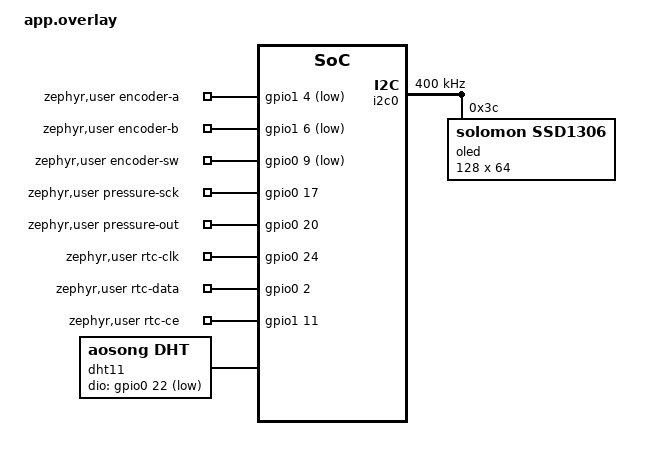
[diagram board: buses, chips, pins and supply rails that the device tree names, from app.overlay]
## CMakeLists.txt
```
cmake_minimum_required(VERSION 3.20.0)

find_package(Zephyr REQUIRED HINTS $ENV{ZEPHYR_BASE})

project(OLED_Merhaba)

target_sources(app PRIVATE
    src/main.c
    src/display_ui.c
    src/input_encoder.c
    src/max30102.c
    src/heart_rate.c
    src/profile_store.c
    src/pressure_sensor.c
    src/mep_test.c
    src/ble_health.c
    src/environment_sensor.c
    src/rtc_clock.c
    src/measurement_log.c
    src/storage_reset.c
)
```

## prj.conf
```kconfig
# Rotary encoder, buton ve HX711 basinc modulu
CONFIG_GPIO=y

# DHT11 ortam sicakligi ve bagil nem sensoru
CONFIG_SENSOR=y
CONFIG_DHT=y
CONFIG_DHT_LOCK_IRQS=y

# OLED ve MAX30102 ortak I2C hatti
CONFIG_I2C=y

# SSD1306 OLED ekran
CONFIG_DISPLAY=y
CONFIG_SSD1306=y
CONFIG_CHARACTER_FRAMEBUFFER=y

# Profil ve basinc kalibrasyonunu kalici bellekte saklama
CONFIG_FLASH=y
CONFIG_FLASH_MAP=y
CONFIG_NVS=y
CONFIG_SETTINGS=y
CONFIG_SETTINGS_NVS=y

# Bellek ayarlari
CONFIG_HEAP_MEM_POOL_SIZE=4096
CONFIG_MAIN_STACK_SIZE=4096
CONFIG_SYSTEM_WORKQUEUE_STACK_SIZE=2048

# Simdilik loglari kapat
CONFIG_LOG=n

# Bluetooth Low Energy ve Nordic UART Service
CONFIG_BT=y
CONFIG_BT_PERIPHERAL=y
CONFIG_BT_DEVICE_NAME="nRF52840_fy"
CONFIG_BT_MAX_CONN=1
CONFIG_BT_MAX_PAIRED=1
CONFIG_BT_NUS=y
```

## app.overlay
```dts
#include <zephyr/dt-bindings/i2c/i2c.h>
#include <zephyr/dt-bindings/gpio/gpio.h>

/ {
	aliases {
		dht0 = &dht11;
	};

	chosen {
		zephyr,display = &oled;
	};

	zephyr,user {
		/* Encoder A: D8 / P1.04 */
		encoder-a-gpios =
			<&gpio1 4 (GPIO_PULL_UP | GPIO_ACTIVE_LOW)>;

		/* Encoder B: D9 / P1.06 */
		encoder-b-gpios =
			<&gpio1 6 (GPIO_PULL_UP | GPIO_ACTIVE_LOW)>;

		/* Encoder butonu: D10 / P0.09, diger uc GND */
		encoder-sw-gpios =
			<&gpio0 9 (GPIO_PULL_UP | GPIO_ACTIVE_LOW)>;

		/* HX711 PD_SCK: D2 / P0.17 */
		pressure-sck-gpios =
			<&gpio0 17 GPIO_ACTIVE_HIGH>;

		/* HX711 DOUT: D3 / P0.20 */
		pressure-out-gpios =
			<&gpio0 20 GPIO_ACTIVE_HIGH>;

		/* DS1302 CLK: D5 / P0.24 */
		rtc-clk-gpios =
			<&gpio0 24 GPIO_ACTIVE_HIGH>;

		/* DS1302 DATA: D15 / P0.02 */
		rtc-data-gpios =
			<&gpio0 2 GPIO_ACTIVE_HIGH>;

		/* DS1302 RST/CE: D12 / P1.11 */
		rtc-ce-gpios =
			<&gpio1 11 GPIO_ACTIVE_HIGH>;
	};

	dht11: dht11 {
		compatible = "aosong,dht";
		/* DHT11 DATA: D4 / P0.22, 4.7K-10K ile 3V3'e pull-up. */
		dio-gpios =
			<&gpio0 22 (GPIO_PULL_UP | GPIO_ACTIVE_LOW)>;
		status = "okay";
	};
};

&i2c0 {
	status = "okay";
	clock-frequency = <I2C_BITRATE_FAST>;

	oled: ssd1306@3c {
		compatible = "solomon,ssd1306";
		reg = <0x3c>;

		width = <128>;
		height = <64>;

		segment-offset = <0>;
		page-offset = <0>;
		display-offset = <0>;
		multiplex-ratio = <63>;

		segment-remap;
		com-invdir;
		prechargep = <0x22>;
	};
};
```

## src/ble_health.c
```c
#include "ble_health.h"

#include <errno.h>
#include <stdio.h>
#include <string.h>

#include <zephyr/bluetooth/bluetooth.h>
#include <zephyr/bluetooth/conn.h>
#include <zephyr/bluetooth/gatt.h>
#include <zephyr/bluetooth/hci.h>
#include <zephyr/kernel.h>
#include <zephyr/sys/atomic.h>
#include <zephyr/sys/util.h>

#include <bluetooth/services/nus.h>

#define DEVICE_NAME CONFIG_BT_DEVICE_NAME
#define DEVICE_NAME_LEN (sizeof(DEVICE_NAME) - 1)
#define BLE_LINE_MAX 128
#define BLE_CHUNK_MAX 20

static struct bt_conn *current_conn;
static atomic_t sync_requested;
static atomic_t time_update_requested;
static atomic_t profile_update_requested;
static atomic_t profile_delete_requested;
static atomic_t profile_select_requested;
static atomic_t session_end_requested;
static struct rtc_datetime requested_time;
static struct ble_profile_update requested_profile_update;
static int requested_profile_delete;
static int requested_profile_select;
static char rx_line[80];
static size_t rx_length;

static const struct bt_data advertising_data[] = {
	BT_DATA_BYTES(
		BT_DATA_FLAGS,
		BT_LE_AD_GENERAL | BT_LE_AD_NO_BREDR
	),
	BT_DATA(
		BT_DATA_NAME_COMPLETE,
		DEVICE_NAME,
		DEVICE_NAME_LEN
	),
};

static const struct bt_data scan_response[] = {
	BT_DATA_BYTES(
		BT_DATA_UUID128_ALL,
		BT_UUID_NUS_VAL
	),
};

static void start_advertising(void)
{
	(void)bt_le_adv_start(
		BT_LE_ADV_CONN_FAST_2,
		advertising_data,
		ARRAY_SIZE(advertising_data),
		scan_response,
		ARRAY_SIZE(scan_response)
	);
}

static void connected(
	struct bt_conn *conn,
	uint8_t error
)
{
	if (error != 0) {
		return;
	}

	if (current_conn != NULL) {
		bt_conn_unref(current_conn);
	}

	current_conn = bt_conn_ref(conn);
}

static void disconnected(
	struct bt_conn *conn,
	uint8_t reason
)
{
	ARG_UNUSED(conn);
	ARG_UNUSED(reason);

	if (current_conn != NULL) {
		bt_conn_unref(current_conn);
		current_conn = NULL;
	}

	rx_length = 0;
	start_advertising();
}

BT_CONN_CB_DEFINE(connection_callbacks) = {
	.connected = connected,
	.disconnected = disconnected,
};

static void process_command(void)
{
	rx_line[rx_length] = '\0';

	if (strcmp(rx_line, "SYNC") == 0 ||
	    strcmp(rx_line, "GET ALL") == 0) {
		atomic_set(&sync_requested, 1);
	} else if (strcmp(rx_line, "SESSION_END") == 0) {
		atomic_set(&session_end_requested, 1);
	} else {
		unsigned int year;
		unsigned int month;
		unsigned int day;
		unsigned int hour;
		unsigned int minute;
		unsigned int second;
		unsigned int weekday;

		if (sscanf(
			    rx_line,
			    "TIME|%u|%u|%u|%u|%u|%u|%u",
			    &year,
			    &month,
			    &day,
			    &hour,
			    &minute,
			    &second,
			    &weekday) == 7) {
			requested_time = (struct rtc_datetime) {
				.year = (uint16_t)year,
				.month = (uint8_t)month,
				.day = (uint8_t)day,
				.hour = (uint8_t)hour,
				.minute = (uint8_t)minute,
				.second = (uint8_t)second,
				.weekday = (uint8_t)weekday,
				.valid = true,
			};
			atomic_set(&time_update_requested, 1);
			goto done;
		}

		unsigned int index;
		unsigned int age;
		unsigned int height;
		unsigned int weight;
		char name[PROFILE_NAME_MAX + 1] = { 0 };
		char gender;

		if (sscanf(rx_line,
			   "PROFILE_SET|%u|%8[^|]|%u|%c|%u|%u",
			   &index, name, &age, &gender, &height, &weight) == 6 &&
		    index < PROFILE_MAX) {
			memset(&requested_profile_update, 0,
			       sizeof(requested_profile_update));
			requested_profile_update.index = (int)index;
			strncpy(requested_profile_update.profile.name, name,
				PROFILE_NAME_MAX);
			requested_profile_update.profile.age =
				(uint8_t)CLAMP(age, 1U, 120U);
			requested_profile_update.profile.gender =
				gender == 'W' ? PROFILE_WOMAN : PROFILE_MAN;
			requested_profile_update.profile.height_cm =
				(uint16_t)CLAMP(height,
					PROFILE_MIN_HEIGHT_CM,
					PROFILE_MAX_HEIGHT_CM);
			requested_profile_update.profile.weight_kg =
				(uint16_t)CLAMP(weight,
					PROFILE_MIN_WEIGHT_KG,
					PROFILE_MAX_WEIGHT_KG);
			atomic_set(&profile_update_requested, 1);
		} else if (sscanf(rx_line, "PROFILE_DELETE|%u", &index) == 1 &&
			   index < PROFILE_MAX) {
			requested_profile_delete = (int)index;
			atomic_set(&profile_delete_requested, 1);
		} else if (sscanf(rx_line, "PROFILE_SELECT|%u", &index) == 1 &&
			   index < PROFILE_MAX) {
			requested_profile_select = (int)index;
			atomic_set(&profile_select_requested, 1);
		}
	}

	done:
	rx_length = 0;
}

static void received(
	struct bt_conn *conn,
	const uint8_t *const data,
	uint16_t length
)
{
	ARG_UNUSED(conn);

	for (uint16_t i = 0; i < length; i++) {
		char byte = (char)data[i];

		if (byte == '\r' || byte == '\n') {
			if (rx_length > 0) {
				process_command();
			}
			continue;
		}

		if (rx_length + 1 < sizeof(rx_line)) {
			rx_line[rx_length++] = byte;
		} else {
			rx_length = 0;
		}
	}
}

static struct bt_nus_cb nus_callbacks = {
	.received = received,
};

static void send_line(const char *line)
{
	if (current_conn == NULL || line == NULL) {
		return;
	}

	size_t length = strlen(line);

	for (size_t offset = 0; offset < length;) {
		size_t chunk = MIN(
			length - offset,
			(size_t)BLE_CHUNK_MAX
		);

		int result = bt_nus_send(
			current_conn,
			(const uint8_t *)&line[offset],
			(uint16_t)chunk
		);

		if (result == -ENOMEM || result == -EAGAIN) {
			k_sleep(K_MSEC(12));
			continue;
		}

		if (result != 0) {
			return;
		}

		offset += chunk;
		k_sleep(K_MSEC(4));
	}
}

int ble_health_init(void)
{
	atomic_clear(&sync_requested);
	atomic_clear(&time_update_requested);
	atomic_clear(&profile_update_requested);
	atomic_clear(&profile_delete_requested);
	atomic_clear(&profile_select_requested);
	atomic_clear(&session_end_requested);
	rx_length = 0;

	int result = bt_enable(NULL);

	if (result != 0) {
		return result;
	}

	result = bt_nus_init(&nus_callbacks);

	if (result != 0) {
		return result;
	}

	start_advertising();
	return 0;
}

bool ble_health_is_connected(void)
{
	return current_conn != NULL;
}

bool ble_health_take_sync_request(void)
{
	return atomic_cas(&sync_requested, 1, 0);
}

bool ble_health_take_time_update(struct rtc_datetime *time)
{
	if (time == NULL ||
	    !atomic_cas(&time_update_requested, 1, 0)) {
		return false;
	}

	*time = requested_time;
	return true;
}

bool ble_health_take_profile_update(struct ble_profile_update *update)
{
	if (update == NULL ||
	    !atomic_cas(&profile_update_requested, 1, 0)) {
		return false;
	}
	*update = requested_profile_update;
	return true;
}

bool ble_health_take_profile_delete(int *index)
{
	if (index == NULL ||
	    !atomic_cas(&profile_delete_requested, 1, 0)) {
		return false;
	}
	*index = requested_profile_delete;
	return true;
}

bool ble_health_take_profile_select(int *index)
{
	if (index == NULL ||
	    !atomic_cas(&profile_select_requested, 1, 0)) {
		return false;
	}
	*index = requested_profile_select;
	return true;
}

bool ble_health_take_session_end(void)
{
	return atomic_cas(&session_end_requested, 1, 0);
}

void ble_health_send_profile(
	int index,
	const struct user_profile *profile
)
{
	if (profile == NULL) {
		return;
	}

	char line[BLE_LINE_MAX];

	(void)snprintf(
		line,
		sizeof(line),
		"P|%d|%s|%u|%c|%u|%u|%u|%ld|%ld|%u|%ld|%ld|%u\n",
		index,
		profile->name,
		profile->age,
		profile->gender == PROFILE_MAN ? 'M' : 'W',
		profile->height_cm,
		profile->weight_kg,
		profile->last_bpm,
		(long)profile->last_mep_kpa_x100,
		(long)profile->last_mep_predicted_x100,
		profile->last_mep_percent,
		(long)profile->last_mip_kpa_x100,
		(long)profile->last_mip_predicted_x100,
		profile->last_mip_percent
	);

	send_line(line);
}

void ble_health_send_heart(
	int profile_index,
	uint16_t bpm
)
{
	char line[48];

	(void)snprintf(
		line,
		sizeof(line),
		"M|HR|%d|%u\n",
		profile_index,
		bpm
	);

	send_line(line);
}

void ble_health_send_mep(
	int profile_index,
	int32_t measured_kpa_x100,
	int32_t predicted_kpa_x100,
	uint16_t percent
)
{
	char line[64];

	(void)snprintf(
		line,
		sizeof(line),
		"M|MEP|%d|%ld|%ld|%u\n",
		profile_index,
		(long)measured_kpa_x100,
		(long)predicted_kpa_x100,
		percent
	);

	send_line(line);
}

void ble_health_send_mip(
	int profile_index,
	int32_t measured_kpa_x100,
	int32_t predicted_kpa_x100,
	uint16_t percent
)
{
	char line[64];

	(void)snprintf(
		line,
		sizeof(line),
		"M|MIP|%d|%ld|%ld|%u\n",
		profile_index,
		(long)measured_kpa_x100,
		(long)predicted_kpa_x100,
		percent
	);

	send_line(line);
}

void ble_health_send_environment(
	int16_t temperature_c_x10,
	uint16_t humidity_percent_x10,
	const char *quality
)
{
	char line[64];

	(void)snprintf(
		line,
		sizeof(line),
		"M|ENV|%d|%u|%s\n",
		temperature_c_x10,
		humidity_percent_x10,
		quality != NULL ? quality : "UNKNOWN"
	);

	send_line(line);
}

void ble_health_send_record(const struct measurement_record *record)
{
	if (record == NULL || !record->valid || !record->time.valid) {
		return;
	}

	const char *type = record->type == MEASUREMENT_HEART_RATE
		? "HR"
		: record->type == MEASUREMENT_MEP ? "MEP" : "MIP";
	char line[BLE_LINE_MAX];

	(void)snprintf(
		line,
		sizeof(line),
		"R|%lu|%s|%u|%ld|%ld|%u|%u|%u|%u|%u|%u|%u\n",
		(unsigned long)record->sequence,
		type,
		record->profile_index,
		(long)record->value_x100,
		(long)record->predicted_x100,
		record->percent,
		record->time.year,
		record->time.month,
		record->time.day,
		record->time.hour,
		record->time.minute,
		record->time.second
	);

	send_line(line);
}

void ble_health_send_sync_done(void)
{
	send_line("DONE\n");
}

void ble_health_send_status(const char *status)
{
	char line[48];
	(void)snprintf(line, sizeof(line), "STATUS|%s\n",
		status != NULL ? status : "OK");
	send_line(line);
}
```

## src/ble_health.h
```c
#ifndef BLE_HEALTH_H
#define BLE_HEALTH_H

#include <stdbool.h>
#include <stdint.h>

#include "profile_store.h"
#include "measurement_log.h"
#include "rtc_clock.h"

int ble_health_init(void);
bool ble_health_is_connected(void);
bool ble_health_take_sync_request(void);
bool ble_health_take_time_update(struct rtc_datetime *time);

struct ble_profile_update {
	int index;
	struct user_profile profile;
};

bool ble_health_take_profile_update(
	struct ble_profile_update *update
);
bool ble_health_take_profile_delete(int *index);
bool ble_health_take_profile_select(int *index);
bool ble_health_take_session_end(void);

void ble_health_send_profile(
	int index,
	const struct user_profile *profile
);

void ble_health_send_heart(
	int profile_index,
	uint16_t bpm
);

void ble_health_send_mep(
	int profile_index,
	int32_t measured_kpa_x100,
	int32_t predicted_kpa_x100,
	uint16_t percent
);

void ble_health_send_mip(
	int profile_index,
	int32_t measured_kpa_x100,
	int32_t predicted_kpa_x100,
	uint16_t percent
);

void ble_health_send_environment(
	int16_t temperature_c_x10,
	uint16_t humidity_percent_x10,
	const char *quality
);

void ble_health_send_record(
	const struct measurement_record *record
);

void ble_health_send_sync_done(void);
void ble_health_send_status(const char *status);

#endif
```

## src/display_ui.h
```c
#ifndef DISPLAY_UI_H
#define DISPLAY_UI_H

#include <stdbool.h>
#include <stdint.h>

#include "heart_rate.h"
#include "measurement_log.h"
#include "profile_store.h"
#include "rtc_clock.h"

enum ui_menu_item {
	UI_MENU_CLOCK,
	UI_MENU_HEART,
	UI_MENU_MEP,
	UI_MENU_MIP,
	UI_MENU_ENVIRONMENT,
	UI_MENU_PROFILE,
	UI_MENU_RECORDS,
	UI_MENU_BLUETOOTH,
	UI_MENU_SETTINGS,
	UI_MENU_COUNT,
};

int ui_display_init(void);

void ui_show_profile_selector(
	const char *name,
	bool is_new
);

void ui_show_main_menu(
	const char *profile_name,
	enum ui_menu_item item
);

void ui_show_clock(
	const struct rtc_datetime *time
);

void ui_show_name_editor(
	const char *name,
	char selected
);

void ui_show_gender(
	enum profile_gender gender
);

void ui_show_age(int age);
void ui_show_height(uint16_t height_cm);
void ui_show_weight(uint16_t weight_kg);

void ui_show_heart(
	bool sensor_ready,
	const struct heart_rate_state *heart,
	bool beat_flash
);

void ui_show_mep_ready(
	bool sensor_ready,
	bool calibrated
);

void ui_show_mep_active(
	uint8_t attempt_number,
	int32_t live_kpa_x100,
	bool waiting_for_blow
);

void ui_show_mep_attempt(
	uint8_t attempt_number,
	int32_t value_kpa_x100,
	bool valid
);

void ui_show_mep_result(
	int32_t measured_kpa_x100,
	int32_t predicted_kpa_x100,
	uint16_t percent,
	bool repeatable,
	bool reference_valid
);

void ui_show_mip_ready(bool sensor_ready);
void ui_show_mip_active(
	uint8_t attempt_number,
	int32_t live_kpa_x100,
	bool waiting_for_inhale
);
void ui_show_mip_attempt(
	uint8_t attempt_number,
	int32_t value_kpa_x100,
	bool valid
);
void ui_show_mip_result(
	int32_t measured_kpa_x100,
	int32_t predicted_kpa_x100,
	uint16_t percent,
	bool repeatable,
	bool reference_valid
);

void ui_show_environment(
	bool sensor_ready,
	int16_t temperature_c_x10,
	uint16_t humidity_percent_x10,
	const char *quality
);

void ui_show_profile_info(
	const struct user_profile *profile
);

void ui_show_record(
	const char *profile_name,
	const struct measurement_record *record,
	size_t record_index,
	size_t record_count
);

void ui_show_bluetooth(
	bool ready,
	bool connected
);
void ui_show_settings(uint8_t selected);
void ui_show_rtc_editor(
	const struct rtc_datetime *time,
	uint8_t field
);
void ui_show_profile_delete_confirm(const char *name);
void ui_show_profile_deleted(void);
void ui_show_pressure_cal_zero(void);
void ui_show_pressure_cal_reference(
	int32_t reference_kpa_x100
);
void ui_show_pressure_cal_apply(
	int32_t validation_kpa_x100
);
void ui_show_pressure_cal_result(
	int result,
	int32_t counts_per_kpa,
	int32_t validated_limit_kpa_x100
);
void ui_show_pressure_saturation(void);
void ui_show_saved(void);
void ui_show_sensor_error(void);

#endif
```

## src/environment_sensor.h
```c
#ifndef ENVIRONMENT_SENSOR_H
#define ENVIRONMENT_SENSOR_H

#include <stdbool.h>
#include <stdint.h>

enum environment_quality {
	ENVIRONMENT_UNKNOWN,
	ENVIRONMENT_GOOD,
	ENVIRONMENT_DRY,
	ENVIRONMENT_HUMID,
	ENVIRONMENT_COLD,
	ENVIRONMENT_HOT,
};

struct environment_reading {
	int16_t temperature_c_x10;
	uint16_t humidity_percent_x10;
	enum environment_quality quality;
	bool valid;
};

int environment_sensor_init(void);
int environment_sensor_read(struct environment_reading *reading);
const char *environment_quality_code(enum environment_quality quality);

#endif
```

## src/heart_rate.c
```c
#include "heart_rate.h"

#include <limits.h>
#include <string.h>

#include <zephyr/sys/util.h>

#define SAMPLE_PERIOD_MS 10

#define FINGER_ON_THRESHOLD 12000U
#define FINGER_OFF_THRESHOLD 8000U

#define FINGER_ON_SAMPLES 30
#define FINGER_OFF_SAMPLES 80

#define WARMUP_SAMPLES 80

#define MIN_INTERVAL_MS 300
#define MAX_INTERVAL_MS 1500
#define REFRACTORY_MS 280

#define BPM_HOLD_MS 6000

#define INTERVAL_COUNT 7
#define MIN_INTERVALS_FOR_BPM 2
#define INITIAL_INTERVAL_TOLERANCE_PERCENT 25

#define WAVE_HEIGHT 24
#define WAVE_CENTER (WAVE_HEIGHT / 2)

static int32_t median(
	const int32_t *values,
	uint8_t count
)
{
	int32_t sorted[INTERVAL_COUNT];

	for (uint8_t i = 0; i < count; i++) {
		sorted[i] = values[i];
	}

	for (uint8_t i = 1; i < count; i++) {
		int32_t value = sorted[i];
		int j = i - 1;

		while (j >= 0 &&
		       sorted[j] > value) {
			sorted[j + 1] = sorted[j];
			j--;
		}

		sorted[j + 1] = value;
	}

	return sorted[count / 2];
}

static void clear_measurement(
	struct heart_rate_state *state
)
{
	state->dc_q8 = 0;
	state->lowpass = 0;
	state->filtered = 0;

	state->window_min = INT32_MAX;
	state->window_max = INT32_MIN;
	state->window_samples = 0;

	state->beat_threshold = 0;
	state->display_scale = 32;

	state->polarity = 1;
	state->polarity_locked = false;
	state->beat_armed = false;

	state->sample_time_ms = 0;
	state->last_beat_ms = 0;
	state->last_good_beat_ms = 0;

	memset(
		state->intervals,
		0,
		sizeof(state->intervals)
	);

	state->interval_index = 0;
	state->interval_count = 0;
	state->rejected_count = 0;

	state->warmup_samples = 0;

	state->bpm_q8 = 0;
	state->bpm = 0;
	state->bpm_valid = false;

	state->wave_head = 0;

	for (int i = 0;
	     i < HEART_WAVE_POINTS;
	     i++) {
		state->wave[i] = WAVE_CENTER;
	}
}

void heart_rate_reset(
	struct heart_rate_state *state
)
{
	memset(state, 0, sizeof(*state));
	clear_measurement(state);
}

static void add_wave_point(
	struct heart_rate_state *state,
	int32_t value
)
{
	int32_t oriented =
		value * state->polarity;

	int32_t magnitude =
		oriented >= 0
			? oriented
			: -oriented;

	if (magnitude > state->display_scale) {
		state->display_scale = magnitude;
	} else if (state->display_scale > 32) {
		state->display_scale -= MAX(
			state->display_scale / 50,
			1
		);
	}

	int32_t normalized = CLAMP(
		(oriented *
		 (WAVE_CENTER - 2)) /
		MAX(state->display_scale, 1),

		-(WAVE_CENTER - 2),
		WAVE_CENTER - 2
	);

	state->wave[state->wave_head] =
		(int8_t)(
			WAVE_CENTER -
			normalized
		);

	state->wave_head =
		(state->wave_head + 1) %
		HEART_WAVE_POINTS;
}

static void update_threshold(
	struct heart_rate_state *state
)
{
	if (state->window_samples < 50) {
		return;
	}

	int32_t positive_peak =
		MAX(state->window_max, 0);

	int32_t negative_peak =
		MAX(-state->window_min, 0);

	int32_t amplitude =
		state->window_max -
		state->window_min;

	if (!state->polarity_locked) {
		state->polarity =
			positive_peak >= negative_peak
				? 1
				: -1;

		if (state->warmup_samples >=
		    WARMUP_SAMPLES) {
			state->polarity_locked = true;
		}
	}

	int32_t peak =
		state->polarity > 0
			? positive_peak
			: negative_peak;

	int32_t target = MAX(
		peak * 55 / 100,
		amplitude * 30 / 100
	);

	if (amplitude >= 40 &&
	    target > 0) {
		if (state->beat_threshold == 0) {
			state->beat_threshold =
				target;
		} else {
			state->beat_threshold +=
				(target -
				 state->beat_threshold) / 4;
		}
	}

	state->window_min = INT32_MAX;
	state->window_max = INT32_MIN;
	state->window_samples = 0;
}

static bool normalize_interval(
	struct heart_rate_state *state,
	int32_t *interval
)
{
	if (*interval < MIN_INTERVAL_MS) {
		return false;
	}

	if (state->interval_count < 3) {
		return *interval <=
		       MAX_INTERVAL_MS;
	}

	int32_t middle = median(
		state->intervals,
		state->interval_count
	);

	/*
	 * Bir kalp atimi kacirildiysa
	 * iki atimlik araligi ikiye bol.
	 */
	if (*interval >= middle * 165 / 100 &&
	    *interval <= middle * 235 / 100) {
		*interval /= 2;
	}

	int32_t difference =
		*interval >= middle
			? *interval - middle
			: middle - *interval;

	return
		*interval >= MIN_INTERVAL_MS &&
		*interval <= MAX_INTERVAL_MS &&
		difference <= middle * 35 / 100;
}

static void store_interval(
	struct heart_rate_state *state,
	int32_t interval
)
{
	state->intervals[
		state->interval_index
	] = interval;

	state->interval_index =
		(state->interval_index + 1) %
		INTERVAL_COUNT;

	state->interval_count = MIN(
		state->interval_count + 1,
		INTERVAL_COUNT
	);

	state->rejected_count = 0;

	state->last_good_beat_ms =
		state->sample_time_ms;

	if (state->interval_count <
	    MIN_INTERVALS_FOR_BPM) {
		return;
	}

	int32_t target_interval;

	if (state->interval_count == 2) {
		int32_t first = state->intervals[0];
		int32_t second = state->intervals[1];
		int32_t largest = MAX(first, second);
		int32_t difference = first >= second
			? first - second
			: second - first;

		if (difference * 100 >
		    largest * INITIAL_INTERVAL_TOLERANCE_PERCENT) {
			return;
		}

		target_interval = (first + second) / 2;
	} else {
		target_interval = median(
			state->intervals,
			state->interval_count
		);
	}

	int target_bpm = 60000 / target_interval;

	if (target_bpm < 40 ||
	    target_bpm > 200) {
		return;
	}

	if (!state->bpm_valid) {
		state->bpm_q8 =
			target_bpm << 8;

		state->bpm = target_bpm;
		state->bpm_valid = true;

		return;
	}

	/*
	 * 1/4 IIR filtre:
	 * Yeni olcume yumusak gecis.
	 */
	state->bpm_q8 +=
		(((target_bpm << 8) -
		  state->bpm_q8) / 4);

	int filtered_bpm =
		(state->bpm_q8 + 128) >> 8;

	/*
	 * Ekrandaki deger bir atimda
	 * en fazla 3 BPM degisebilir.
	 */
	state->bpm += CLAMP(
		filtered_bpm - state->bpm,
		-3,
		3
	);
}

static bool process_candidate_beat(
	struct heart_rate_state *state
)
{
	if (state->last_beat_ms == 0) {
		state->last_beat_ms =
			state->sample_time_ms;

		return true;
	}

	int32_t interval =
		(int32_t)(
			state->sample_time_ms -
			state->last_beat_ms
		);

	if (interval < REFRACTORY_MS) {
		return false;
	}

	if (normalize_interval(
		    state,
		    &interval)) {
		state->last_beat_ms =
			state->sample_time_ms;

		store_interval(
			state,
			interval
		);

		return true;
	}

	/*
	 * Tek kotu veya hatali tepe
	 * artik BPM degerini silmez.
	 */
	state->rejected_count++;

	if (interval > MAX_INTERVAL_MS) {
		state->last_beat_ms =
			state->sample_time_ms;
	}

	return false;
}

bool heart_rate_process(
	struct heart_rate_state *state,
	uint32_t ir
)
{
	bool beat_detected = false;

	/*
	 * Parmagin takildigini tek bir
	 * ornekle degil, 300 ms sonunda
	 * kabul et.
	 */
	if (!state->finger_present) {
		if (ir >= FINGER_ON_THRESHOLD) {
			state->finger_on_samples++;
		} else {
			state->finger_on_samples = 0;
		}

		if (state->finger_on_samples <
		    FINGER_ON_SAMPLES) {
			return false;
		}

		uint16_t on_samples =
			state->finger_on_samples;

		clear_measurement(state);

		state->finger_present = true;
		state->finger_on_samples =
			on_samples;

		state->dc_q8 =
			(int64_t)ir << 8;

		return false;
	}

	/*
	 * Parmagin kaldirildigini ancak
	 * 800 ms dusuk sinyalden sonra
	 * kabul et.
	 */
	if (ir <= FINGER_OFF_THRESHOLD) {
		state->finger_off_samples++;
	} else {
		state->finger_off_samples = 0;
	}

	if (state->finger_off_samples >=
	    FINGER_OFF_SAMPLES) {
		heart_rate_reset(state);
		return false;
	}

	state->sample_time_ms +=
		SAMPLE_PERIOD_MS;

	/*
	 * DC kaldirma ve hafif alcak
	 * geciren filtre.
	 */
	state->dc_q8 +=
		(((int64_t)ir << 8) -
		 state->dc_q8) / 32;

	int32_t ac =
		(int32_t)ir -
		(int32_t)(state->dc_q8 >> 8);

	state->lowpass +=
		(ac - state->lowpass) / 4;

	state->filtered =
		state->lowpass;

	state->window_min = MIN(
		state->window_min,
		state->filtered
	);

	state->window_max = MAX(
		state->window_max,
		state->filtered
	);

	state->window_samples++;

	state->warmup_samples = MIN(
		state->warmup_samples + 1,
		UINT16_MAX
	);

	add_wave_point(
		state,
		state->filtered
	);

	update_threshold(state);

	int32_t pulse =
		state->filtered *
		state->polarity;

	/*
	 * Yeni tepe kabul edilebilmesi
	 * icin sinyal once esigin altina
	 * inmelidir.
	 */
	if (pulse <
	    state->beat_threshold *
	    45 / 100) {
		state->beat_armed = true;
	}

	if (state->warmup_samples >=
	    WARMUP_SAMPLES &&
	    state->beat_threshold > 0 &&
	    state->beat_armed &&
	    pulse >= state->beat_threshold &&
	    (state->last_beat_ms == 0 ||
	     state->sample_time_ms -
	     state->last_beat_ms >=
	     REFRACTORY_MS)) {
		state->beat_armed = false;

		beat_detected =
			process_candidate_beat(
				state
			);
	}

	/*
	 * Kisa bir bozulmada son iyi
	 * BPM korunur. Gercek sinyal
	 * kaybi 6 saniye surerse silinir.
	 */
	if (state->bpm_valid &&
	    state->last_good_beat_ms > 0 &&
	    state->sample_time_ms -
	    state->last_good_beat_ms >
	    BPM_HOLD_MS) {
		state->bpm_valid = false;
		state->bpm = 0;
		state->bpm_q8 = 0;

		state->interval_count = 0;
		state->interval_index = 0;

		state->last_beat_ms = 0;
		state->polarity_locked = false;
	}

	return beat_detected;
}
```

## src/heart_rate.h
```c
#ifndef HEART_RATE_H
#define HEART_RATE_H

#include <stdbool.h>
#include <stdint.h>

#define HEART_WAVE_POINTS 64

struct heart_rate_state {
	int64_t dc_q8;
	int32_t lowpass;
	int32_t filtered;

	int32_t window_min;
	int32_t window_max;
	uint16_t window_samples;

	int32_t beat_threshold;
	int32_t display_scale;

	int8_t polarity;
	bool polarity_locked;
	bool beat_armed;

	int64_t sample_time_ms;
	int64_t last_beat_ms;
	int64_t last_good_beat_ms;

	int32_t intervals[7];
	uint8_t interval_index;
	uint8_t interval_count;
	uint8_t rejected_count;

	uint16_t warmup_samples;
	uint16_t finger_on_samples;
	uint16_t finger_off_samples;

	int32_t bpm_q8;
	int bpm;

	bool bpm_valid;
	bool finger_present;

	int8_t wave[HEART_WAVE_POINTS];
	uint8_t wave_head;
};

void heart_rate_reset(
	struct heart_rate_state *state
);

bool heart_rate_process(
	struct heart_rate_state *state,
	uint32_t ir
);

static inline bool heart_rate_is_stable(
	const struct heart_rate_state *state
)
{
	return state->finger_present &&
	       state->bpm_valid &&
	       state->bpm >= 40 &&
	       state->bpm <= 200;
}

#endif
```

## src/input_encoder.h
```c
#ifndef INPUT_ENCODER_H
#define INPUT_ENCODER_H

#include <zephyr/kernel.h>

enum input_event {
	INPUT_CLOCKWISE,
	INPUT_COUNTERCLOCKWISE,
	INPUT_SHORT_PRESS,
	INPUT_LONG_PRESS,
};

int input_encoder_init(void);

int input_encoder_get(
	enum input_event *event,
	k_timeout_t timeout
);

#endif
```

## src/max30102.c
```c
#include "max30102.h"

#include <errno.h>

#include <zephyr/drivers/i2c.h>
#include <zephyr/kernel.h>

#define MAX30102_ADDRESS          0x57

#define REG_INT_STATUS_1          0x00
#define REG_INT_STATUS_2          0x01
#define REG_INT_ENABLE_1          0x02
#define REG_INT_ENABLE_2          0x03

#define REG_FIFO_WR_PTR           0x04
#define REG_OVF_COUNTER           0x05
#define REG_FIFO_RD_PTR           0x06
#define REG_FIFO_DATA             0x07
#define REG_FIFO_CONFIG           0x08

#define REG_MODE_CONFIG           0x09
#define REG_SPO2_CONFIG           0x0A
#define REG_LED1_PA               0x0C
#define REG_LED2_PA               0x0D

#define REG_PART_ID               0xFF
#define EXPECTED_PART_ID          0x15

static int write_register(
	const struct device *i2c,
	uint8_t reg,
	uint8_t value
)
{
	return i2c_reg_write_byte(
		i2c,
		MAX30102_ADDRESS,
		reg,
		value
	);
}

static int read_register(
	const struct device *i2c,
	uint8_t reg,
	uint8_t *value
)
{
	return i2c_reg_read_byte(
		i2c,
		MAX30102_ADDRESS,
		reg,
		value
	);
}

int max30102_init(
	const struct device *i2c
)
{
	uint8_t value;
	int err;

	if (!device_is_ready(i2c)) {
		return -ENODEV;
	}

	err = read_register(
		i2c,
		REG_PART_ID,
		&value
	);

	if (err != 0) {
		return err;
	}

	if (value != EXPECTED_PART_ID) {
		return -ENODEV;
	}

	/* Yazilimsal reset */
	err = write_register(
		i2c,
		REG_MODE_CONFIG,
		0x40
	);

	if (err != 0) {
		return err;
	}

	for (int i = 0; i < 100; i++) {
		err = read_register(
			i2c,
			REG_MODE_CONFIG,
			&value
		);

		if (err != 0) {
			return err;
		}

		if ((value & 0x40) == 0) {
			break;
		}

		k_sleep(K_MSEC(1));
	}

	/* Kesme kullanilmiyor */
	if (write_register(
		    i2c,
		    REG_INT_ENABLE_1,
		    0x00) != 0 ||
	    write_register(
		    i2c,
		    REG_INT_ENABLE_2,
		    0x00) != 0) {
		return -EIO;
	}

	/* FIFO temizligi */
	if (write_register(
		    i2c,
		    REG_FIFO_WR_PTR,
		    0x00) != 0 ||
	    write_register(
		    i2c,
		    REG_OVF_COUNTER,
		    0x00) != 0 ||
	    write_register(
		    i2c,
		    REG_FIFO_RD_PTR,
		    0x00) != 0) {
		return -EIO;
	}

	/*
	 * Ortalama 1
	 * FIFO rollover kapali
	 * Almost-full 15
	 */
	if (write_register(
		    i2c,
		    REG_FIFO_CONFIG,
		    0x0F) != 0) {
		return -EIO;
	}

	/*
	 * ADC araligi 4096 nA
	 * 100 sample/s
	 * 411 us pulse
	 * 18 bit
	 */
	if (write_register(
		    i2c,
		    REG_SPO2_CONFIG,
		    0x27) != 0) {
		return -EIO;
	}

	/*
	 * Nabiz icin IR kanali biraz daha guclu tutulur.
	 * Kirmizi: yaklasik 4.8 mA, IR: yaklasik 10 mA.
	 */
	if (write_register(
		    i2c,
		    REG_LED1_PA,
		    0x18) != 0 ||
	    write_register(
		    i2c,
		    REG_LED2_PA,
		    0x32) != 0) {
		return -EIO;
	}

	/*
	 * SpO2 modu
	 * FIFO'da RED ve IR kanallari
	 */
	if (write_register(
		    i2c,
		    REG_MODE_CONFIG,
		    0x03) != 0) {
		return -EIO;
	}

	/* Eski durum bayraklarini temizle */
	(void)read_register(
		i2c,
		REG_INT_STATUS_1,
		&value
	);

	(void)read_register(
		i2c,
		REG_INT_STATUS_2,
		&value
	);

	return 0;
}

int max30102_samples_available(
	const struct device *i2c
)
{
	uint8_t write_pointer;
	uint8_t read_pointer;
	int err;

	err = read_register(
		i2c,
		REG_FIFO_WR_PTR,
		&write_pointer
	);

	if (err != 0) {
		return err;
	}

	err = read_register(
		i2c,
		REG_FIFO_RD_PTR,
		&read_pointer
	);

	if (err != 0) {
		return err;
	}

	return (write_pointer - read_pointer) & 0x1F;
}

int max30102_read_sample(
	const struct device *i2c,
	struct max30102_sample *sample
)
{
	uint8_t data[6];
	int err;

	if (sample == NULL) {
		return -EINVAL;
	}

	err = i2c_burst_read(
		i2c,
		MAX30102_ADDRESS,
		REG_FIFO_DATA,
		data,
		sizeof(data)
	);

	if (err != 0) {
		return err;
	}

	sample->red =
		(((uint32_t)data[0] << 16) |
		 ((uint32_t)data[1] << 8) |
		 data[2]) & 0x3FFFF;

	sample->ir =
		(((uint32_t)data[3] << 16) |
		 ((uint32_t)data[4] << 8) |
		 data[5]) & 0x3FFFF;

	return 0;
}
```

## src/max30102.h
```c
#ifndef MAX30102_H
#define MAX30102_H

#include <stdint.h>

#include <zephyr/device.h>

struct max30102_sample {
	uint32_t red;
	uint32_t ir;
};

int max30102_init(
	const struct device *i2c
);

int max30102_samples_available(
	const struct device *i2c
);

int max30102_read_sample(
	const struct device *i2c,
	struct max30102_sample *sample
);

#endif
```

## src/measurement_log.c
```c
#include "measurement_log.h"
#include "profile_store.h"

#include <errno.h>
#include <stdbool.h>
#include <string.h>

#include <zephyr/settings/settings.h>

#define LOG_MAGIC 0x5346544CUL
#define LOG_VERSION 1
#define LOG_SETTINGS_KEY "sft/records"

struct measurement_database {
	uint32_t magic;
	uint8_t version;
	uint8_t count;
	uint8_t head;
	uint8_t reserved;
	uint32_t next_sequence;
	struct measurement_record records[MEASUREMENT_LOG_CAPACITY];
};

struct direct_value {
	void *destination;
	size_t capacity;
	size_t loaded_length;
	bool fetched;
};

static struct measurement_database database;

static int direct_loader(
	const char *name,
	size_t len,
	settings_read_cb read_cb,
	void *cb_arg,
	void *param
)
{
	struct direct_value *value = param;

	if (name[0] != '\0' || len > value->capacity) {
		return name[0] == '\0' ? -E2BIG : 0;
	}

	int result = read_cb(cb_arg, value->destination, len);

	if (result >= 0) {
		value->fetched = true;
		value->loaded_length = len;
		return 0;
	}

	return result;
}

static void create_empty_database(void)
{
	memset(&database, 0, sizeof(database));
	database.magic = LOG_MAGIC;
	database.version = LOG_VERSION;
	database.next_sequence = 1;
}

static int save_database(void)
{
	return settings_save_one(
		LOG_SETTINGS_KEY,
		&database,
		sizeof(database)
	);
}

int measurement_log_init(void)
{
	create_empty_database();
	int result = settings_subsys_init();

	if (result != 0) {
		return result;
	}

	struct measurement_database loaded;
	memset(&loaded, 0, sizeof(loaded));
	struct direct_value value = {
		.destination = &loaded,
		.capacity = sizeof(loaded),
	};

	result = settings_load_subtree_direct(
		LOG_SETTINGS_KEY,
		direct_loader,
		&value
	);
	if (result != 0) {
		return result;
	}

	if (value.fetched &&
	    value.loaded_length == sizeof(loaded) &&
	    loaded.magic == LOG_MAGIC &&
	    loaded.version == LOG_VERSION &&
	    loaded.count <= MEASUREMENT_LOG_CAPACITY &&
	    loaded.head < MEASUREMENT_LOG_CAPACITY) {
		database = loaded;
		if (database.next_sequence == 0) {
			database.next_sequence = 1;
		}
	}

	return 0;
}

int measurement_log_add(
	enum measurement_type type,
	uint8_t profile_index,
	int32_t value_x100,
	int32_t predicted_x100,
	uint16_t percent,
	const struct rtc_datetime *time,
	struct measurement_record *saved
)
{
	if ((type != MEASUREMENT_HEART_RATE &&
	     type != MEASUREMENT_MEP &&
	     type != MEASUREMENT_MIP) ||
	    time == NULL || !time->valid || value_x100 <= 0) {
		return -EINVAL;
	}

	struct measurement_record record = {
		.sequence = database.next_sequence++,
		.valid = 1,
		.type = (uint8_t)type,
		.profile_index = profile_index,
		.value_x100 = value_x100,
		.predicted_x100 = predicted_x100,
		.percent = percent,
		.time = *time,
	};

	database.records[database.head] = record;
	database.head = (uint8_t)((database.head + 1U) %
		MEASUREMENT_LOG_CAPACITY);
	if (database.count < MEASUREMENT_LOG_CAPACITY) {
		database.count++;
	}

	int result = save_database();

	if (result == 0 && saved != NULL) {
		*saved = record;
	}

	return result;
}

size_t measurement_log_count(int profile_index)
{
	size_t count = 0;

	for (size_t offset = 0; offset < database.count; offset++) {
		size_t index = (database.head + MEASUREMENT_LOG_CAPACITY - 1U -
			offset) % MEASUREMENT_LOG_CAPACITY;
		const struct measurement_record *record = &database.records[index];

		if (record->valid &&
		    (profile_index < 0 || record->profile_index == profile_index)) {
			count++;
		}
	}

	return count;
}

int measurement_log_get_newest(
	int profile_index,
	size_t newest_index,
	struct measurement_record *record
)
{
	if (record == NULL) {
		return -EINVAL;
	}

	size_t found = 0;

	for (size_t offset = 0; offset < database.count; offset++) {
		size_t index = (database.head + MEASUREMENT_LOG_CAPACITY - 1U -
			offset) % MEASUREMENT_LOG_CAPACITY;
		const struct measurement_record *candidate = &database.records[index];

		if (!candidate->valid ||
		    (profile_index >= 0 && candidate->profile_index != profile_index)) {
			continue;
		}

		if (found == newest_index) {
			*record = *candidate;
			return 0;
		}

		found++;
	}

	return -ENOENT;
}

int measurement_log_delete_profile(int profile_index)
{
	if (profile_index < 0 || profile_index >= PROFILE_MAX) {
		return -EINVAL;
	}

	bool changed = false;
	for (size_t i = 0; i < MEASUREMENT_LOG_CAPACITY; i++) {
		if (database.records[i].valid &&
		    database.records[i].profile_index == profile_index) {
			database.records[i].valid = 0;
			changed = true;
		}
	}

	return changed ? save_database() : 0;
}
```

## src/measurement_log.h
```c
#ifndef MEASUREMENT_LOG_H
#define MEASUREMENT_LOG_H

#include <stddef.h>
#include <stdint.h>

#include "rtc_clock.h"

#define MEASUREMENT_LOG_CAPACITY 48

enum measurement_type {
	MEASUREMENT_HEART_RATE = 1,
	MEASUREMENT_MEP = 2,
	MEASUREMENT_MIP = 3,
};

struct measurement_record {
	uint32_t sequence;
	uint8_t valid;
	uint8_t type;
	uint8_t profile_index;
	uint8_t reserved;
	int32_t value_x100;
	int32_t predicted_x100;
	uint16_t percent;
	struct rtc_datetime time;
};

int measurement_log_init(void);
int measurement_log_add(
	enum measurement_type type,
	uint8_t profile_index,
	int32_t value_x100,
	int32_t predicted_x100,
	uint16_t percent,
	const struct rtc_datetime *time,
	struct measurement_record *saved
);
size_t measurement_log_count(int profile_index);
int measurement_log_get_newest(
	int profile_index,
	size_t newest_index,
	struct measurement_record *record
);
int measurement_log_delete_profile(int profile_index);

#endif
```
